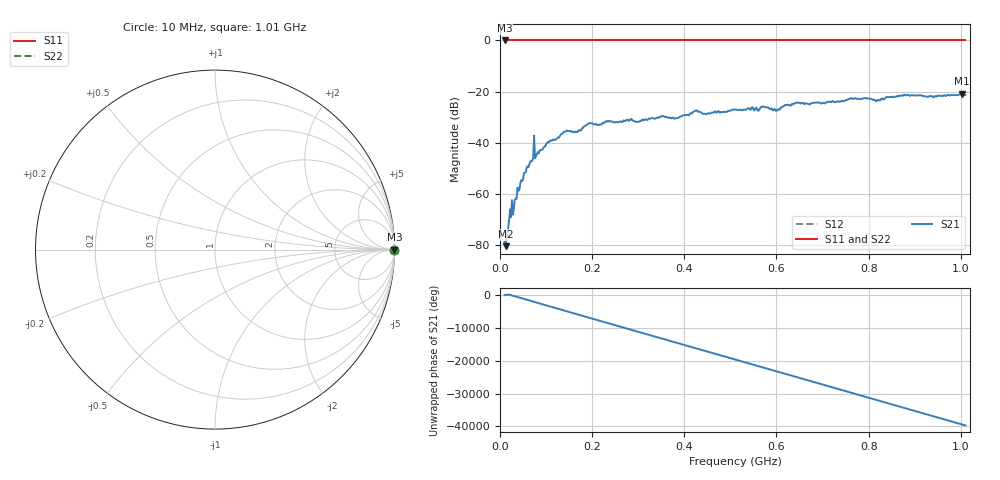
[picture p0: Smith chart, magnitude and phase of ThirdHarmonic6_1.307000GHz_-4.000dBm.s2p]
! 8/16/2025 2:25:19 PM
! C:\ANRITSUVNA\TEMP\TEMP.S2P
! CHANNEL.1
! TR.MEASUREMENT
! RAW.DATA
! RF.CORRECTION.OFF
! AVERAGING.OFF
! IF.BANDWIDTH: 5KHZ
! SWEEPTYPE:  FREQ.SWEEP(Linear)
! Reference Plane Port Info
! PORT:  PORT1  PORT2
! DISTANCE:  0  m  0  m
! TIME:  0  s  0  s
! PHASE.OFFSET:  0  deg.  0  deg.
! LOSS:  0  dB  0  dB
! REF.LOSS:  0  dB  0  dB
! REF.FREQ:  0  Hz  0  Hz
! Power Info
! POWER:  -20  dBm  -20  dBm
! EFF.POWER:  -20  dBm  -20  dBm
! SOURCE.ATTEN:  0  dB  0  dB
! TEST.ATTEN:  0  dB  0  dB
# GHZ S RI R 50.0
! FREQ.GHZ  S11RE  S11IM  S21RE  S21IM  S12RE  S12IM  S22RE  S22IM
!; PortSelection: Port_12
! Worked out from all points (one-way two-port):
!   501 points, 10 MHz to 1.01 GHz, reference 50 ohm
!   highest |S21| = -20.86 dB at 1.002 GHz (marker M1); lowest = -80.5 dB at 12 MHz (marker M2)
!   lowest |S11| = 0.0 dB at 10 MHz (marker M3)
!   |S11| at or under -10 dB: nowhere
!   |S22| runs from 0.0 to 0.0 dB; largest |S21 - S12| = 1.1
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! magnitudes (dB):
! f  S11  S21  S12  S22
! 10 MHz  0.0  -78.7  0.0  0.0
! 12 MHz  0.0  -80.5  0.0  0.0
! 16 MHz  0.0  -76.2  0.0  0.0
! 22 MHz  0.0  -66.0  0.0  0.0
! 32 MHz  0.0  -62.5  0.0  0.0
! 42 MHz  0.0  -58.5  0.0  0.0
! 68 MHz  0.0  -47.2  0.0  0.0
! 70 MHz  0.0  -47.0  0.0  0.0
! 78 MHz  0.0  -45.3  0.0  0.0
! 80 MHz  0.0  -44.4  0.0  0.0
! 142 MHz  0.0  -35.7  0.0  0.0
! 178 MHz  0.0  -34.3  0.0  0.0
! 196 MHz  0.0  -32.3  0.0  0.0
! 344 MHz  0.0  -30.3  0.0  0.0
! 510 MHz  0.0  -27.0  0.0  0.0
! 572 MHz  0.0  -26.0  0.0  0.0
! 602 MHz  0.0  -27.2  0.0  0.0
! 642 MHz  0.0  -24.5  0.0  0.0
! 678 MHz  0.0  -24.4  0.0  0.0
! 844 MHz  0.0  -22.2  0.0  0.0
! 1.002 GHz  0.0  -20.9  0.0  0.0
! 1.01 GHz  0.0  -21.4  0.0  0.0
